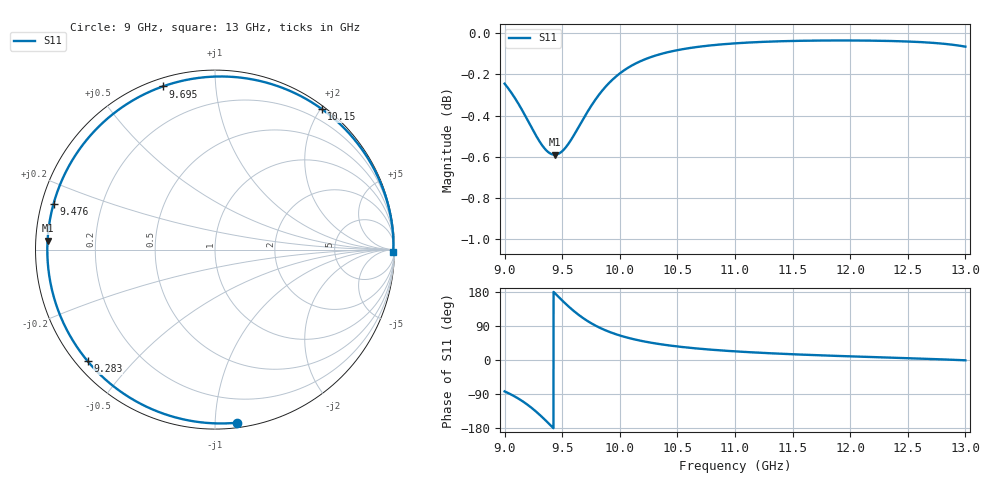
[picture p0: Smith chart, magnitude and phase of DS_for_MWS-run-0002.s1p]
! TOUCHSTONE file generated by CST DESIGN STUDIO
! Date and time: Tue Feb  4 13:27:49 2025
! Project name: C:\Work\MatlabApps\UnitCellOptimizationMatlab\CST\unitcell.cst
! Tree item: Tasks\Sweep1\SPara1\S-Parameters
! Header version: 2024
! Port assignment regex: !\s*Touchstone port\s*([0-9]+)\s*=\s*(CST MWS port|CST DES external port|CST DES block port)\s*(.+)\s* \(\"(.*)\"\)(\s*mode\s*([0-9]+))?.*
! Touchstone port assignment:
! Touchstone port 1 = CST DES external port 1 ("")
# GHz S MA R 50
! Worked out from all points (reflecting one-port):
!   4001 points, 9 GHz to 13 GHz, reference 50 ohm
!   lowest |S11| = -0.6 dB at 9.434 GHz (marker M1), VSWR 29.44, Z = 1.7 + j1.32 ohm
!   phase of S11 starts at -83 deg and turns -278 deg over the sweep
!   S11 on the Smith chart (normalised r, x): 9 GHz: 0.03, -1.13; 9.283 GHz: 0.03, -0.38; 9.476 GHz: 0.03, +0.14; 9.695 GHz: 0.04, +0.73; 10.15 GHz: 0.04, +2.01; 13 GHz: open
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9  0.9722 -82.9
9.086  0.9647 -95.9
9.157  0.9574 -109.1
9.221  0.9501 -123.1
9.283  0.9433 -138.8
9.325  0.9393 -150.4
9.363  0.9365 -161.5
9.399  0.9349 -172.3
9.434  0.9343 177.0
9.476  0.9351 164.2
9.5  0.9362 157.0
9.55  0.9397 142.7
9.597  0.9441 130.2
9.645  0.9491 118.6
9.695  0.9545 107.8
9.764  0.9613 94.9
9.845  0.9682 82.4
9.92  0.9734 73.0
10  0.9778 64.7
10.149  0.9836 52.9
10.308  0.9876 43.8
10.5  0.9906 35.7
10.723  0.9928 29.0
11  0.9944 22.8
11.5  0.9957 15.2
12  0.996 9.6
12.5  0.9954 4.8
13  0.9926 -0.8
